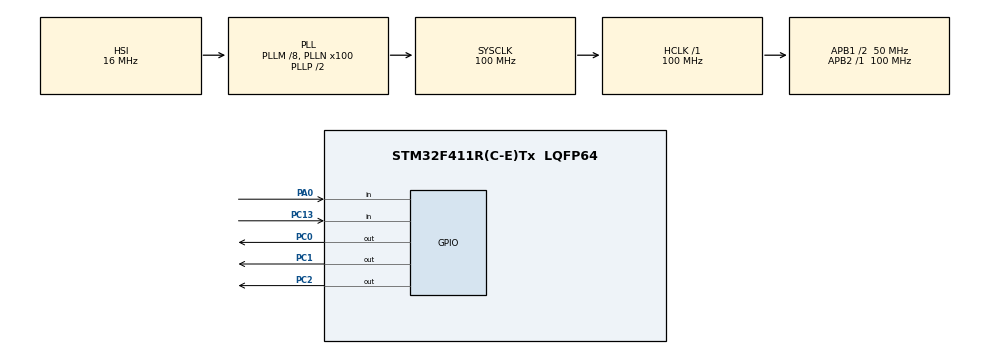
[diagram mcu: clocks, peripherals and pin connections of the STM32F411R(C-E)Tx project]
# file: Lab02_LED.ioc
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Mcu.Family=STM32F4
Mcu.Name=STM32F411R(C-E)Tx
Mcu.Package=LQFP64
NVIC.PriorityGroup=NVIC_PRIORITYGROUP_4
PA0-WKUP.Signal=GPIO_Input
PC0.Signal=GPIO_Output
PC1.Signal=GPIO_Output
PC13-ANTI_TAMP.Signal=GPIO_Input
PC2.Signal=GPIO_Output
ProjectManager.HeapSize=0x200
ProjectManager.StackSize=0x400
ProjectManager.TargetToolchain=MDK-ARM V5
RCC.48MHZClocksFreq_Value=50000000
RCC.AHBFreq_Value=100000000
RCC.APB1CLKDivider=RCC_HCLK_DIV2
RCC.APB1Freq_Value=50000000
RCC.APB1TimFreq_Value=100000000
RCC.APB2Freq_Value=100000000
RCC.APB2TimFreq_Value=100000000
RCC.CortexFreq_Value=100000000
RCC.HCLKFreq_Value=100000000
RCC.HSE_VALUE=25000000
RCC.HSI_VALUE=16000000
RCC.LSE_VALUE=32768
RCC.PLLM=8
RCC.PLLN=100
RCC.SYSCLKFreq_VALUE=100000000
RCC.SYSCLKSource=RCC_SYSCLKSOURCE_PLLCLK
RCC.VCOOutputFreq_Value=200000000
board=custom

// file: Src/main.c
/* USER CODE BEGIN Header */
/**
  ******************************************************************************
  * @file           : main.c
  * @brief          : Main program body
  ******************************************************************************
  ** This notice applies to any and all portions of this file
  * that are not between comment pairs USER CODE BEGIN and
  * USER CODE END. Other portions of this file, whether
  * inserted by the user or by software development tools
  * are owned by their respective copyright owners.
  *
  * COPYRIGHT(c) 2019 STMicroelectronics
  *
  * Redistribution and use in source and binary forms, with or without modification,
  * are permitted provided that the following conditions are met:
  *   1. Redistributions of source code must retain the above copyright notice,
  *      this list of conditions and the following disclaimer.
  *   2. Redistributions in binary form must reproduce the above copyright notice,
  *      this list of conditions and the following disclaimer in the documentation
  *      and/or other materials provided with the distribution.
  *   3. Neither the name of STMicroelectronics nor the names of its contributors
  *      may be used to endorse or promote products derived from this software
  *      without specific prior written permission.
  *
  * THIS SOFTWARE IS PROVIDED BY THE COPYRIGHT HOLDERS AND CONTRIBUTORS "AS IS"
  * AND ANY EXPRESS OR IMPLIED WARRANTIES, INCLUDING, BUT NOT LIMITED TO, THE
  * IMPLIED WARRANTIES OF MERCHANTABILITY AND FITNESS FOR A PARTICULAR PURPOSE ARE
  * DISCLAIMED. IN NO EVENT SHALL THE COPYRIGHT HOLDER OR CONTRIBUTORS BE LIABLE
  * FOR ANY DIRECT, INDIRECT, INCIDENTAL, SPECIAL, EXEMPLARY, OR CONSEQUENTIAL
  * DAMAGES (INCLUDING, BUT NOT LIMITED TO, PROCUREMENT OF SUBSTITUTE GOODS OR
  * SERVICES; LOSS OF USE, DATA, OR PROFITS; OR BUSINESS INTERRUPTION) HOWEVER
  * CAUSED AND ON ANY THEORY OF LIABILITY, WHETHER IN CONTRACT, STRICT LIABILITY,
  * OR TORT (INCLUDING NEGLIGENCE OR OTHERWISE) ARISING IN ANY WAY OUT OF THE USE
  * OF THIS SOFTWARE, EVEN IF ADVISED OF THE POSSIBILITY OF SUCH DAMAGE.
  *
  ******************************************************************************
  */
/* USER CODE END Header */

#include "main.h"
#include "gpio.h"

void SystemClock_Config(void);

int main(void)
{

  /* MCU Configuration--------------------------------------------------------*/

  /* Reset of all peripherals, Initializes the Flash interface and the Systick. */
  HAL_Init();

  /* Configure the system clock */
  SystemClock_Config();

  /* Initialize all configured peripherals */
  MX_GPIO_Init();
  /* USER CODE BEGIN 2 */
	int count = 0;

  /* USER CODE END 2 */

  /* Infinite loop */
  while (1)
  {

    /* USER CODE BEGIN 3 */
		if (HAL_GPIO_ReadPin(GPIOC, GPIO_PIN_13) == GPIO_PIN_RESET)
	{
		count++ ;
		HAL_Delay(500);
		if (count ==1)
		{
			HAL_GPIO_WritePin(GPIOC, GPIO_PIN_0, GPIO_PIN_SET);

			HAL_GPIO_WritePin(GPIOC, GPIO_PIN_1, GPIO_PIN_RESET);
			HAL_GPIO_WritePin(GPIOC, GPIO_PIN_2, GPIO_PIN_RESET);

		}
		else if (count == 2)
		{
			HAL_GPIO_WritePin(GPIOC, GPIO_PIN_1, GPIO_PIN_SET);
			HAL_GPIO_WritePin(GPIOC, GPIO_PIN_0, GPIO_PIN_RESET);
			HAL_GPIO_WritePin(GPIOC, GPIO_PIN_2, GPIO_PIN_RESET);

		}
		else if (count == 3)
		{
			HAL_GPIO_WritePin(GPIOC, GPIO_PIN_2, GPIO_PIN_SET);
			HAL_GPIO_WritePin(GPIOC, GPIO_PIN_1, GPIO_PIN_RESET);
			HAL_GPIO_WritePin(GPIOC, GPIO_PIN_0, GPIO_PIN_RESET);

			count = 0;
		}
	}
	if (HAL_GPIO_ReadPin(GPIOA, GPIO_PIN_0) ==  GPIO_PIN_SET)
	{
			HAL_GPIO_WritePin(GPIOC, GPIO_PIN_2, GPIO_PIN_SET);
			HAL_GPIO_WritePin(GPIOC, GPIO_PIN_1, GPIO_PIN_RESET);
			HAL_GPIO_WritePin(GPIOC, GPIO_PIN_0, GPIO_PIN_RESET);
			HAL_Delay(500);
			HAL_GPIO_WritePin(GPIOC, GPIO_PIN_1, GPIO_PIN_SET);
			HAL_GPIO_WritePin(GPIOC, GPIO_PIN_0, GPIO_PIN_RESET);
			HAL_GPIO_WritePin(GPIOC, GPIO_PIN_2, GPIO_PIN_RESET);
			HAL_Delay(500);
			HAL_GPIO_WritePin(GPIOC, GPIO_PIN_0, GPIO_PIN_SET);
			HAL_GPIO_WritePin(GPIOC, GPIO_PIN_1, GPIO_PIN_RESET);
			HAL_GPIO_WritePin(GPIOC, GPIO_PIN_2, GPIO_PIN_RESET);
			HAL_Delay(500);
			HAL_GPIO_WritePin(GPIOC, GPIO_PIN_1, GPIO_PIN_RESET);
			HAL_GPIO_WritePin(GPIOC, GPIO_PIN_2, GPIO_PIN_RESET);
			HAL_GPIO_WritePin(GPIOC, GPIO_PIN_0, GPIO_PIN_RESET);
		count = 0;

	}
	}

  /* USER CODE END 3 */
}

void SystemClock_Config(void)
{
  RCC_OscInitTypeDef RCC_OscInitStruct = {0};
  RCC_ClkInitTypeDef RCC_ClkInitStruct = {0};

  /**Configure the main internal regulator output voltage
  */
  __HAL_RCC_PWR_CLK_ENABLE();
  __HAL_PWR_VOLTAGESCALING_CONFIG(PWR_REGULATOR_VOLTAGE_SCALE1);
  /**Initializes the CPU, AHB and APB busses clocks
  */
  RCC_OscInitStruct.OscillatorType = RCC_OSCILLATORTYPE_HSI;
  RCC_OscInitStruct.HSIState = RCC_HSI_ON;
  RCC_OscInitStruct.HSICalibrationValue = RCC_HSICALIBRATION_DEFAULT;
  RCC_OscInitStruct.PLL.PLLState = RCC_PLL_ON;
  RCC_OscInitStruct.PLL.PLLSource = RCC_PLLSOURCE_HSI;
  RCC_OscInitStruct.PLL.PLLM = 8;
  RCC_OscInitStruct.PLL.PLLN = 100;
  RCC_OscInitStruct.PLL.PLLP = RCC_PLLP_DIV2;
  RCC_OscInitStruct.PLL.PLLQ = 4;
  if (HAL_RCC_OscConfig(&RCC_OscInitStruct) != HAL_OK)
  {
    Error_Handler();
  }
  /**Initializes the CPU, AHB and APB busses clocks
  */
  RCC_ClkInitStruct.ClockType = RCC_CLOCKTYPE_HCLK|RCC_CLOCKTYPE_SYSCLK
                              |RCC_CLOCKTYPE_PCLK1|RCC_CLOCKTYPE_PCLK2;
  RCC_ClkInitStruct.SYSCLKSource = RCC_SYSCLKSOURCE_PLLCLK;
  RCC_ClkInitStruct.AHBCLKDivider = RCC_SYSCLK_DIV1;
  RCC_ClkInitStruct.APB1CLKDivider = RCC_HCLK_DIV2;
  RCC_ClkInitStruct.APB2CLKDivider = RCC_HCLK_DIV1;

  if (HAL_RCC_ClockConfig(&RCC_ClkInitStruct, FLASH_LATENCY_3) != HAL_OK)
  {
    Error_Handler();
  }
}

void Error_Handler(void)
{
}

/************************ (C) COPYRIGHT STMicroelectronics *****END OF FILE****/
